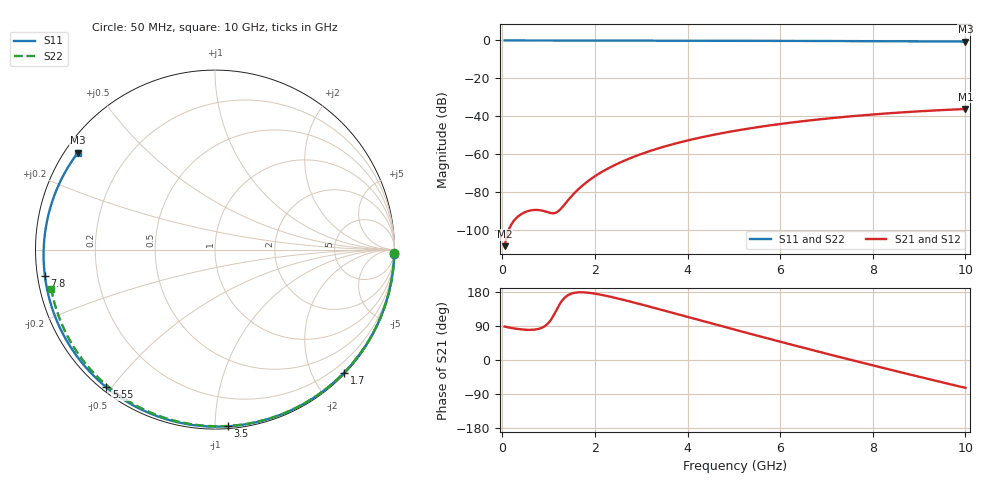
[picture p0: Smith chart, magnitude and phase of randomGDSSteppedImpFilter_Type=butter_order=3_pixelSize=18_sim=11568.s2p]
! freq	dB(S11)	phase(S11)	dB(S12)	phase(S12)
!  dB(S21)	phase(S21)	dB(S22)	phase(S22)
!S-par simulation data
#  GHz  S  DB  R 50
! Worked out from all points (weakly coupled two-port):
!   200 points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, 50 MHz to 10 GHz, reference 50 ohm
!   highest |S21| = -36.19 dB at 10 GHz (marker M1); lowest = -108.6 dB at 50 MHz (marker M2)
!   lowest |S11| = -0.6 dB at 10 GHz (marker M3), VSWR 30.10, Z = 1.83 + j15.8 ohm
!   |S11| at or under -10 dB: nowhere
!   |S22| runs from -0.6 to 0.0 dB; largest |S21 - S12| = 0
!   S11 on the Smith chart (normalised r, x): 50 MHz: 2, -90; 1.7 GHz: 0.02, -2.50; 3.5 GHz: 0.01, -1.08; 5.55 GHz: 0.01, -0.48; 7.8 GHz: 0.02, -0.08; 10 GHz: 0.04, +0.32
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0.05  -0.00 -1.3  -108.57 88.4  -108.57 88.4  -0.00 -0.9
0.75  -0.03 -19.5  -89.45 81.1  -89.45 81.1  -0.02 -14.4
1.15  -0.04 -29.8  -90.99 127.3  -90.99 127.3  -0.03 -22.0
1.55  -0.05 -39.9  -80.75 177.1  -80.75 177.1  -0.04 -29.5
1.6  -0.05 -41.2  -79.51 178.1  -79.51 178.1  -0.04 -30.4
1.7  -0.06 -43.6  -77.24 178.7  -77.24 178.7  -0.04 -32.3
1.75  -0.06 -44.9  -76.19 178.6  -76.19 178.6  -0.04 -33.2
2.05  -0.07 -52.2  -70.87 174.0  -70.87 174.0  -0.05 -38.7
2.45  -0.08 -61.8  -65.50 163.6  -65.50 163.6  -0.06 -46.0
2.9  -0.09 -72.3  -60.83 149.8  -60.83 149.8  -0.07 -54.1
3.4  -0.11 -83.6  -56.72 133.6  -56.72 133.6  -0.08 -62.9
3.5  -0.11 -85.8  -56.00 130.3  -56.00 130.3  -0.09 -64.6
4.25  -0.14 -101.9  -51.38 105.5  -51.38 105.5  -0.11 -77.4
5.05  -0.17 -118.3  -47.59 79.1  -47.59 79.1  -0.14 -90.5
5.55  -0.20 -128.2  -45.63 62.8  -45.63 62.8  -0.16 -98.5
6.15  -0.24 -139.9  -43.62 43.5  -43.62 43.5  -0.19 -107.9
6.7  -0.27 -150.4  -42.03 26.1  -42.03 26.1  -0.23 -116.4
7.25  -0.32 -160.8  -40.66 8.9  -40.66 8.9  -0.27 -124.7
7.8  -0.36 -171.3  -39.46 -8.1  -39.46 -8.1  -0.31 -133.0
8.35  -0.41 178.1  -38.43 -24.8  -38.43 -24.8  -0.36 -141.3
9.2  -0.50 161.3  -37.12 -50.1  -37.12 -50.1  -0.45 -154.1
10  -0.58 144.8  -36.19 -73.5  -36.19 -73.5  -0.55 -166.5
